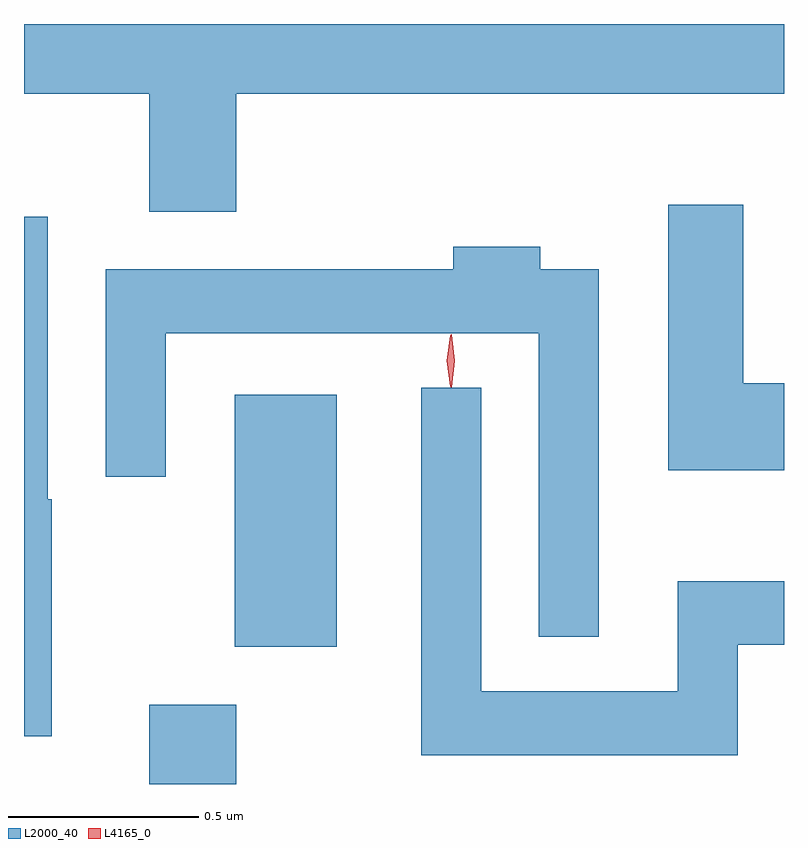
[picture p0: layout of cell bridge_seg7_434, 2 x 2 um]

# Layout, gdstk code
import gdstk
lib = gdstk.Library(unit=1e-6, precision=1e-09)
def R(c, l, rs):  # rectangles x0, y0, x1, y1
    for r in rs: c.add(gdstk.rectangle(r[:2], r[2:], *l))
def P(c, l, *ps):  # polygons
    for p in ps: c.add(gdstk.Polygon(p, *l))
L2000_40 = (2000, 40)
L4165_0 = (4165, 0)

bridge_seg7_434 = lib.new_cell('bridge_seg7_434')
R(bridge_seg7_434, L2000_40, [(1130.421,1670.32,1130.649,1670.529), (1130.646,1670.681,1130.914,1671.344)])
P(bridge_seg7_434, L2000_40, [(1130.649,1672.136),(1132.091,1672.136),(1132.091,1672.32),(1130.091,1672.32),(1130.091,1672.136),(1130.421,1672.136),(1130.421,1671.826),(1130.649,1671.826)],
  [(1132.091,1671.374),(1131.984,1671.374),(1131.984,1671.844),(1131.786,1671.844),(1131.786,1671.146),(1132.091,1671.146)],
  [(1130.164,1671.07),(1130.154,1671.07),(1130.154,1671.813),(1130.091,1671.813),(1130.091,1670.446),(1130.164,1670.446)],
  [(1131.604,1671.674),(1131.449,1671.674),(1131.449,1671.734),(1131.221,1671.734),(1131.221,1671.674),(1130.306,1671.674),(1130.306,1671.128),(1130.464,1671.128),(1130.464,1671.506),(1131.446,1671.506),(1131.446,1670.708),(1131.604,1670.708)],
  [(1131.969,1670.686),(1132.091,1670.686),(1132.091,1670.854),(1131.811,1670.854),(1131.811,1670.564),(1131.294,1670.564),(1131.294,1671.363),(1131.136,1671.363),(1131.136,1670.396),(1131.969,1670.396)])
P(bridge_seg7_434, L4165_0, [(1131.213,1671.367),(1131.204,1671.434),(1131.213,1671.5),(1131.214,1671.5),(1131.214,1671.5),(1131.224,1671.434),(1131.214,1671.367),(1131.214,1671.367)],
  [(1131.214,1671.364),(1131.205,1671.434),(1131.214,1671.502),(1131.215,1671.503),(1131.216,1671.502),(1131.225,1671.434),(1131.216,1671.364),(1131.215,1671.364)])

lib.write_gds('bridge_seg7_434.gds')
